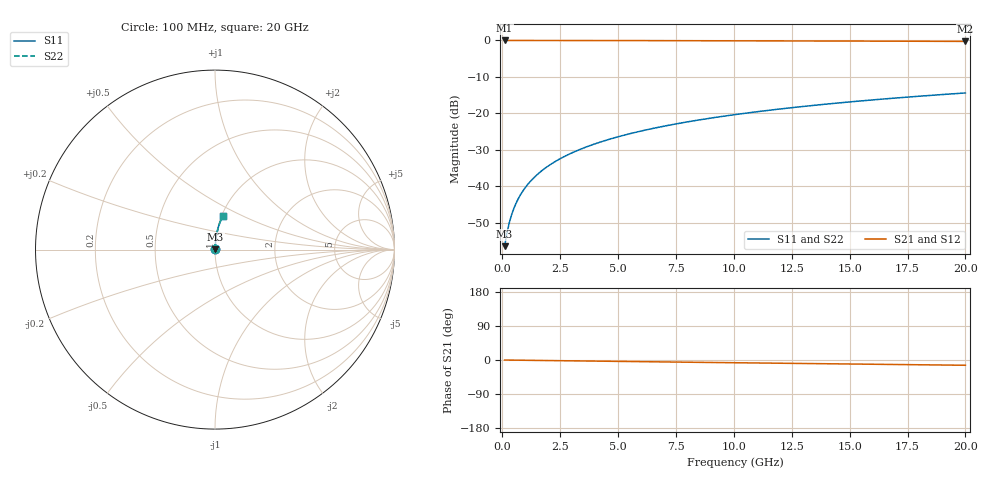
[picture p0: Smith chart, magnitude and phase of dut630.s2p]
! Touchstone file exported from HFSS 2024.1.0
!  File:  C:/UserFiles/LocalFiles/RDL_TSV_Batchsim/temp_RDL_top_630_1779780560.aedt
!  Generated:  03:31:45 PM May 26, 2026
!  Design:  RDL_top
!  Project:  temp_RDL_top_630_1779780560
!  Setup:  Setup1
!  Solution:  Sweep
! Variables:
!  dtsv = 10.80580581um
!  hbump = 3um
!  htsv = 70.56um
!  ldown = 100um
!  lrdl = 138um
!  p = 40
!  p1 = 48.34um
!  rhole = 1um
!  t = 450um
!  tdown = 3.915915916um
!  trdl = 4.52um
!  wdown = 15.38538539um
!  wrdl = 10.38um
# GHz S MA R 50.000000
! Terminal data exported
! Port[1] = Box2_T1
! Port[2] = Box2_T2
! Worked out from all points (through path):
!   200 points, 100 MHz to 20 GHz, reference 50 ohm
!   highest |S21| = -0.01 dB at 100 MHz (marker M1); lowest = -0.3 dB at 20 GHz (marker M2)
!   group delay of S21, straight-line fit = 1.92 ps
!   lowest |S11| = -56.4 dB at 100 MHz (marker M3), VSWR 1.00, Z = 50.1 + j0.0982 ohm
!   |S11| at or under -10 dB: start of sweep to end of sweep
!   |S22| runs from -56.4 to -14.4 dB; largest |S21 - S12| = 5.2e-15
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0.1  0.001514 40.3  0.9988 -0.1  0.9988 -0.1  0.001514 40.3
! Gamma 0 0 0 0
! Port Impedance 50 0 50 0
0.2  0.002278 59.1  0.9988 -0.2  0.9988 -0.2  0.002278 59.1
0.3  0.003155 67.8  0.9988 -0.2  0.9988 -0.2  0.003155 67.8
0.4  0.004067 72.6  0.9988 -0.3  0.9988 -0.3  0.004067 72.6
0.5  0.004993 75.6  0.9987 -0.4  0.9987 -0.4  0.004993 75.6
0.6  0.005925 77.7  0.9987 -0.5  0.9987 -0.5  0.005925 77.7
0.8  0.007801 80.4  0.9987 -0.6  0.9987 -0.6  0.007801 80.4
1.1  0.01063 82.6  0.9986 -0.8  0.9986 -0.8  0.01063 82.6
1.5  0.01442 84.1  0.9984 -1.1  0.9984 -1.1  0.01442 84.1
1.8  0.01727 84.7  0.9983 -1.3  0.9983 -1.3  0.01727 84.7
2.1  0.02013 85.1  0.9981 -1.6  0.9981 -1.6  0.02013 85.1
2.7  0.02584 85.6  0.9977 -2.0  0.9977 -2.0  0.02584 85.6
3.5  0.03347 85.8  0.9971 -2.6  0.9971 -2.6  0.03347 85.8
4.2  0.04016 85.7  0.9964 -3.1  0.9964 -3.1  0.04016 85.7
5  0.0478 85.6  0.9955 -3.7  0.9955 -3.7  0.0478 85.6
5.9  0.05641 85.3  0.9944 -4.3  0.9944 -4.3  0.05641 85.3
6.8  0.06504 84.9  0.9933 -5.0  0.9933 -5.0  0.06504 84.9
8.3  0.07943 84.2  0.9911 -6.0  0.9911 -6.0  0.07943 84.2
10.1  0.09673 83.3  0.9883 -7.3  0.9883 -7.3  0.09673 83.3
13.4  0.1284 81.3  0.9827 -9.5  0.9827 -9.5  0.1284 81.3
16.7  0.1597 79.2  0.9765 -11.7  0.9765 -11.7  0.1597 79.2
20  0.1905 77.0  0.9696 -13.9  0.9696 -13.9  0.1905 77.0
